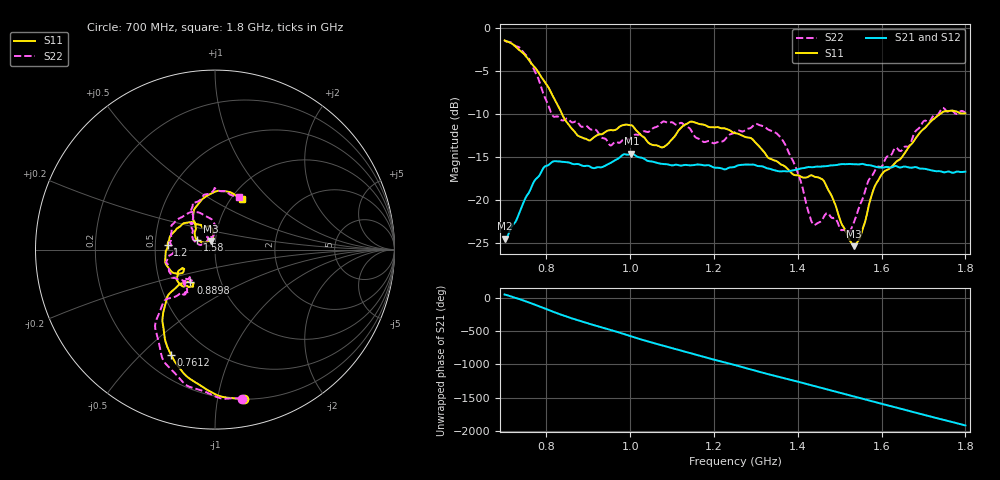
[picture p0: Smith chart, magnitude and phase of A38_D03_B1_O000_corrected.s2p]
! Created with skrf 1.9.0 (http://scikit-rf.org).
# Hz S RI R 50.0
!freq ReS11 ImS11 ReS21 ImS21 ReS12 ImS12 ReS22 ImS22
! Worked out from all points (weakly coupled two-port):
!   1601 points, 700 MHz to 1.8 GHz, reference 50 ohm
!   highest |S21| = -14.60 dB at 1.002 GHz (marker M1); lowest = -24.5 dB at 701.4 MHz (marker M2)
!   lowest |S11| = -25.4 dB at 1.534 GHz (marker M3), VSWR 1.11, Z = 47.4 + j4.57 ohm
!   |S11| at or under -10 dB: 837.2 MHz to 1.739 GHz (902 MHz wide, 70 % of centre)
!   |S22| runs from -23.8 to -1.5 dB; largest |S21 - S12| = 0.0035
!   S11 on the Smith chart (normalised r, x): 700 MHz: 0.20, -1.19; 761.2 MHz: 0.32, -0.62; 889.8 MHz: 0.72, -0.28; 1.2 GHz: 0.58, +0.03; 1.58 GHz: 0.81, +0.09; 1.8 GHz: 1.12, +0.70
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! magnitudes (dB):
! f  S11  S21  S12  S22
! 700 MHz  -1.4  -24.5  -24.3  -1.5
! 701.4 MHz  -1.5  -24.5  -24.1  -1.5
! 761.2 MHz  -3.9  -18.8  -18.7  -3.9
! 814.8 MHz  -7.9  -15.5  -15.6  -10.2
! 883.6 MHz  -12.7  -16.0  -15.9  -11.5
! 889.8 MHz  -12.8  -16.1  -16.0  -11.4
! 953 MHz  -11.9  -15.7  -15.7  -13.6
! 1.002 GHz  -11.3  -14.6  -14.7  -12.8
! 1.067 GHz  -13.7  -15.7  -15.7  -11.4
! 1.143 GHz  -10.9  -16.0  -15.9  -11.7
! 1.2 GHz  -11.5  -16.2  -16.2  -13.4
! 1.25 GHz  -12.2  -16.1  -16.1  -12.1
! 1.357 GHz  -15.8  -16.7  -16.6  -12.6
! 1.396 GHz  -17.1  -16.5  -16.5  -16.3
! 1.434 GHz  -17.1  -16.2  -16.2  -22.6
! 1.463 GHz  -17.9  -16.1  -16.1  -21.9
! 1.518 GHz  -24.1  -15.8  -15.8  -23.8
! 1.534 GHz  -25.4  -15.8  -15.8  -22.6
! 1.58 GHz  -18.9  -16.1  -16.0  -17.0
! 1.617 GHz  -16.4  -16.2  -16.1  -14.9
! 1.741 GHz  -9.9  -16.7  -16.7  -9.6
! 1.8 GHz  -9.9  -16.7  -16.7  -9.8
